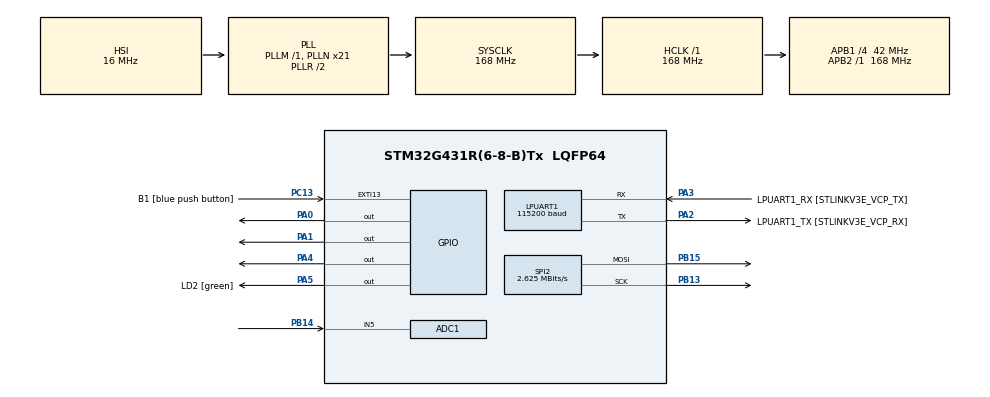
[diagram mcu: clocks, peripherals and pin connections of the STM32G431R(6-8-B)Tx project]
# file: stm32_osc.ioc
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ADC1.Channel-0\#ChannelRegularConversion=ADC_CHANNEL_5
ADC1.ClockPrescaler=ADC_CLOCK_ASYNC_DIV6
ADC1.DMAContinuousRequests=ENABLE
ADC1.ExternalTrigConv=ADC_EXTERNALTRIG_T2_TRGO
ADC1.NbrOfConversionFlag=1
ADC1.OffsetNumber-0\#ChannelRegularConversion=ADC_OFFSET_NONE
ADC1.Rank-0\#ChannelRegularConversion=1
ADC1.SamplingTime-0\#ChannelRegularConversion=ADC_SAMPLETIME_2CYCLES_5
ADC1.master=1
Dma.ADC1.0.Direction=DMA_PERIPH_TO_MEMORY
Dma.ADC1.0.EventEnable=DISABLE
Dma.ADC1.0.Instance=DMA1_Channel1
Dma.ADC1.0.MemDataAlignment=DMA_MDATAALIGN_HALFWORD
Dma.ADC1.0.MemInc=DMA_MINC_ENABLE
Dma.ADC1.0.Mode=DMA_CIRCULAR
Dma.ADC1.0.PeriphDataAlignment=DMA_PDATAALIGN_HALFWORD
Dma.ADC1.0.PeriphInc=DMA_PINC_DISABLE
Dma.ADC1.0.Polarity=HAL_DMAMUX_REQ_GEN_RISING
Dma.ADC1.0.Priority=DMA_PRIORITY_LOW
Dma.ADC1.0.RequestNumber=1
Dma.ADC1.0.SignalID=NONE
Dma.ADC1.0.SyncEnable=DISABLE
Dma.ADC1.0.SyncPolarity=HAL_DMAMUX_SYNC_NO_EVENT
Dma.ADC1.0.SyncRequestNumber=1
Dma.ADC1.0.SyncSignalID=NONE
Dma.Request0=ADC1
LPUART1.BaudRate=115200
LPUART1.WordLength=UART_WORDLENGTH_8B
Mcu.Family=STM32G4
Mcu.Name=STM32G431R(6-8-B)Tx
Mcu.Package=LQFP64
NVIC.DMA1_Channel1_IRQn=true\:1\:0\:true\:false\:true\:false\:true\:true
NVIC.PriorityGroup=NVIC_PRIORITYGROUP_1
PA0.Signal=GPIO_Output
PA1.Signal=GPIO_Output
PA13.GPIO_Label=T_SWDIO
PA13.Mode=Serial_Wire
PA13.Signal=SYS_JTMS-SWDIO
PA14.GPIO_Label=T_SWCLK
PA14.Mode=Serial_Wire
PA14.Signal=SYS_JTCK-SWCLK
PA2.GPIO_Label=LPUART1_TX [STLINKV3E_VCP_RX]
PA2.Mode=Asynchronous
PA2.Signal=LPUART1_TX
PA3.GPIO_Label=LPUART1_RX [STLINKV3E_VCP_TX]
PA3.Mode=Asynchronous
PA3.Signal=LPUART1_RX
PA4.Signal=GPIO_Output
PA5.GPIO_Label=LD2 [green]
PA5.Signal=GPIO_Output
PB13.Mode=TX_Only_Simplex_Unidirect_Master
PB13.Signal=SPI2_SCK
PB14.Mode=IN5-Single-Ended
PB14.Signal=ADC1_IN5
PB15.Mode=TX_Only_Simplex_Unidirect_Master
PB15.Signal=SPI2_MOSI
PB3.GPIO_Label=T_SWO
PB3.Signal=SYS_JTDO-SWO
PC13.GPIO_Label=B1 [blue push button]
PC13.Signal=GPXTI13
PC14-OSC32_IN.Mode=LSE-External-Oscillator
PC14-OSC32_IN.Signal=RCC_OSC32_IN
PC15-OSC32_OUT.Mode=LSE-External-Oscillator
PC15-OSC32_OUT.Signal=RCC_OSC32_OUT
PF0-OSC_IN.Mode=HSE-External-Oscillator
PF0-OSC_IN.Signal=RCC_OSC_IN
PF1-OSC_OUT.Mode=HSE-External-Oscillator
PF1-OSC_OUT.Signal=RCC_OSC_OUT
ProjectManager.HeapSize=0x200
ProjectManager.StackSize=0x400
ProjectManager.TargetToolchain=STM32CubeIDE
RCC.ADC12Freq_Value=168000000
RCC.AHBFreq_Value=168000000
RCC.APB1CLKDivider=RCC_HCLK_DIV4
RCC.APB1Freq_Value=42000000
RCC.APB1TimFreq_Value=84000000
RCC.APB2Freq_Value=168000000
RCC.APB2TimFreq_Value=168000000
RCC.CortexFreq_Value=168000000
RCC.EXTERNAL_CLOCK_VALUE=12288000
RCC.HCLKFreq_Value=168000000
RCC.HSE_VALUE=24000000
RCC.HSI48_VALUE=48000000
RCC.HSI_VALUE=16000000
RCC.PLLN=21
RCC.RTCClockSelection=RCC_RTCCLKSOURCE_LSE
RCC.SYSCLKFreq_VALUE=168000000
RCC.SYSCLKSource=RCC_SYSCLKSOURCE_PLLCLK
RCC.USBFreq_Value=168000000
RCC.VCOOutputFreq_Value=336000000
SPI2.BaudRatePrescaler=SPI_BAUDRATEPRESCALER_16
SPI2.CalculateBaudRate=2.625 MBits/s
SPI2.DataSize=SPI_DATASIZE_8BIT
SPI2.Direction=SPI_DIRECTION_2LINES
SPI2.Mode=SPI_MODE_MASTER
SPI2.VirtualType=VM_MASTER
TIM2.PeriodNoDither=10-1
TIM2.Prescaler=84-1
TIM2.TIM_MasterOutputTrigger=TIM_TRGO_UPDATE
VP_SYS_VS_DBSignals.Mode=DisableDeadBatterySignals
VP_TIM2_VS_ClockSourceINT.Mode=Internal
board=NUCLEO-G431RB

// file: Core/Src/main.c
/* USER CODE BEGIN Header */
/**
  ******************************************************************************
  * @file           : main.c
  * @brief          : Main program body
  ******************************************************************************
  * @attention
  *
  * Copyright (c) 2023 STMicroelectronics.
  * All rights reserved.
  *
  * This software is licensed under terms that can be found in the LICENSE file
  * in the root directory of this software component.
  * If no LICENSE file comes with this software, it is provided AS-IS.
  *
  ******************************************************************************
  */
/* USER CODE END Header */
#include "main.h"
#include "adc.h"
#include "dma.h"
#include "usart.h"
#include "spi.h"
#include "tim.h"
#include "gpio.h"

/* USER CODE BEGIN Includes */
#include "st7735.h"
#include "fourier.h"
/* USER CODE END Includes */

/* USER CODE BEGIN PD */
#define FFT_LENGTH 128

#define VOLTAGE_SAMPLES 320
#define CONVERSION_HALF 1
#define CONVERSION_FIN  2
#define CONVERSION_OFF  0
/* USER CODE END PD */

/* USER CODE BEGIN PV */
static volatile uint16_t adc_values[VOLTAGE_SAMPLES];
static volatile uint8_t adc_conversion;
/* USER CODE END PV */

void SystemClock_Config(void);

/* USER CODE BEGIN 0 */
void HAL_ADC_ConvHalfCpltCallback (ADC_HandleTypeDef * hadc)
{
	if (hadc == &hadc1)
		adc_conversion = CONVERSION_HALF;
}

void HAL_ADC_ConvCpltCallback (ADC_HandleTypeDef * hadc)
{
	if (hadc == &hadc1)
		adc_conversion = CONVERSION_FIN;
}
/* USER CODE END 0 */

int main(void)
{

  /* MCU Configuration--------------------------------------------------------*/

  /* Reset of all peripherals, Initializes the Flash interface and the Systick. */
  HAL_Init();

  /* Configure the system clock */
  SystemClock_Config();

  /* Initialize all configured peripherals */
  MX_GPIO_Init();
  MX_DMA_Init();
  MX_LPUART1_UART_Init();
  MX_SPI2_Init();
  MX_TIM2_Init();
  MX_ADC1_Init();
  /* USER CODE BEGIN 2 */
  HAL_TIM_Base_Start(&htim2);
  HAL_ADC_Start_DMA(&hadc1, (uint32_t *)adc_values, VOLTAGE_SAMPLES);

  float fft_data[FFT_LENGTH];
  float voltage[ST7735_WIDTH];
  ST7735_Init();

  /* USER CODE END 2 */

  /* Infinite loop */
  /* USER CODE BEGIN WHILE */
  while (1)
  {
	  if (adc_conversion == CONVERSION_HALF) {
		  for (int i = 0; i < ST7735_WIDTH; i++)
			  voltage[i] = (3.3f * adc_values[i]) / 4096.0f;
		  FFT_Compute(voltage, fft_data, FFT_LENGTH);
		  //ST7735_Draw_Voltage(voltage, ST7735_WIDTH, ST7735_YELLOW, 1000);
		  ST7735_Draw_FFT(fft_data, FFT_LENGTH, ST7735_YELLOW);

		  adc_conversion = CONVERSION_OFF;
	  }
	  if (adc_conversion == CONVERSION_FIN) {
		  for (uint16_t i = 0; i < ST7735_WIDTH; i++)
			  voltage[i] = (3.3f * adc_values[i + ST7735_WIDTH]) / 4096.0f;
		  FFT_Compute(voltage, fft_data, FFT_LENGTH);
		  ST7735_Draw_FFT(fft_data, FFT_LENGTH, ST7735_YELLOW);
		  //ST7735_Draw_Voltage(voltage, ST7735_WIDTH, ST7735_YELLOW, 1000);

		  adc_conversion = CONVERSION_OFF;
	  }
    /* USER CODE END WHILE */

  }
}

void SystemClock_Config(void)
{
  RCC_OscInitTypeDef RCC_OscInitStruct = {0};
  RCC_ClkInitTypeDef RCC_ClkInitStruct = {0};

  /** Configure the main internal regulator output voltage
  */
  HAL_PWREx_ControlVoltageScaling(PWR_REGULATOR_VOLTAGE_SCALE1_BOOST);

  /** Initializes the RCC Oscillators according to the specified parameters
  * in the RCC_OscInitTypeDef structure.
  */
  RCC_OscInitStruct.OscillatorType = RCC_OSCILLATORTYPE_HSI;
  RCC_OscInitStruct.HSIState = RCC_HSI_ON;
  RCC_OscInitStruct.HSICalibrationValue = RCC_HSICALIBRATION_DEFAULT;
  RCC_OscInitStruct.PLL.PLLState = RCC_PLL_ON;
  RCC_OscInitStruct.PLL.PLLSource = RCC_PLLSOURCE_HSI;
  RCC_OscInitStruct.PLL.PLLM = RCC_PLLM_DIV1;
  RCC_OscInitStruct.PLL.PLLN = 21;
  RCC_OscInitStruct.PLL.PLLP = RCC_PLLP_DIV2;
  RCC_OscInitStruct.PLL.PLLQ = RCC_PLLQ_DIV2;
  RCC_OscInitStruct.PLL.PLLR = RCC_PLLR_DIV2;
  if (HAL_RCC_OscConfig(&RCC_OscInitStruct) != HAL_OK)
  {
    Error_Handler();
  }

  /** Initializes the CPU, AHB and APB buses clocks
  */
  RCC_ClkInitStruct.ClockType = RCC_CLOCKTYPE_HCLK|RCC_CLOCKTYPE_SYSCLK
                              |RCC_CLOCKTYPE_PCLK1|RCC_CLOCKTYPE_PCLK2;
  RCC_ClkInitStruct.SYSCLKSource = RCC_SYSCLKSOURCE_PLLCLK;
  RCC_ClkInitStruct.AHBCLKDivider = RCC_SYSCLK_DIV1;
  RCC_ClkInitStruct.APB1CLKDivider = RCC_HCLK_DIV4;
  RCC_ClkInitStruct.APB2CLKDivider = RCC_HCLK_DIV1;

  if (HAL_RCC_ClockConfig(&RCC_ClkInitStruct, FLASH_LATENCY_4) != HAL_OK)
  {
    Error_Handler();
  }
}

void Error_Handler(void)
{
  __disable_irq();
  while (1)
  {
  }
}
